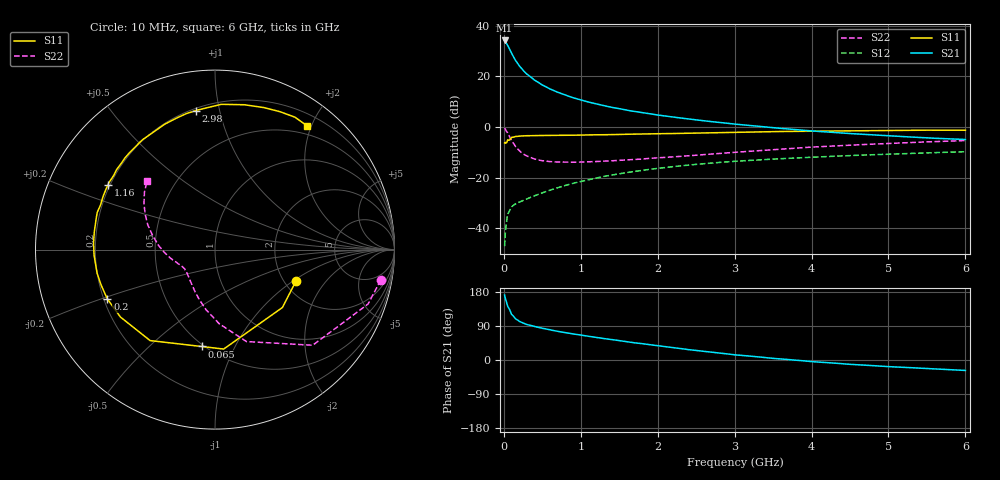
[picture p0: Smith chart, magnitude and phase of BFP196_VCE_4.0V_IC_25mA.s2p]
! Infineon Technologies  Discrete & RF Semiconductors
! BFP196
! VCE = 4.0 V,  IC =  25mA
! Common Emitter S-Parameters:  Jan 2016
# GHz  S  MA  R  50
!  f  S11  S21  S12  S22
! GHz  MAG  ANG  MAG  ANG  MAG  ANG  MAG  ANG
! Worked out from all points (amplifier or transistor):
!   210 points, 10 MHz to 6 GHz, reference 50 ohm
!   highest |S21| = 34.2 dB at 10 MHz (marker M1)
!   |S21| within 3 dB of that: start of sweep to 67.39 MHz
!   unconditionally stable (mu >= 1): 620.1 MHz to 3.466 GHz; 3.56 GHz to 3.986 GHz; 4.031 GHz to 4.257 GHz
!   at 185 MHz: K = 0.53, MSG = 27.4 dB, |S12| = -30.0 dB
!   at 1.52 GHz: K = 1.09, MAG = 10.9 dB, |S12| = -18.4 dB
!   at 6 GHz: K = 0.97, MSG = 2.4 dB, |S12| = -9.8 dB
!   S11 on the Smith chart (normalised r, x): 10 MHz: 2.31, -1.06; 65 MHz: 0.49, -0.75; 200 MHz: 0.21, -0.21; 1.16 GHz: 0.19, +0.27; 2.98 GHz: 0.21, +0.85; 6 GHz: 0.37, +1.94
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0.01  0.4843 -21.2  51.07 171.5  0.0044 84.1  0.9392 -10.4
0.02  0.4951 -40.7  48.86 162.1  0.0084 75.2  0.9049 -19.6
0.05  0.5562 -85.0  41 141.5  0.0187 59.3  0.7617 -44.4
0.065  0.545 -97.9  36.8 136.7  0.0209 54.4  0.6823 -50.5
0.1  0.6226 -125.5  28.46 120.5  0.0263 46.3  0.5416 -71.1
0.15  0.6471 -144.5  20.71 109.1  0.03 43.6  0.4133 -86.8
0.2  0.6598 -155.4  16.19 102.2  0.0326 42.9  0.3401 -98.2
0.26  0.6657 -164.4  12.66 96.7  0.0357 44.2  0.2873 -108.4
0.3  0.67 -168.8  11.02 93.6  0.038 45.9  0.2661 -113.7
0.4  0.6745 -177.4  8.388 88.2  0.0436 48.8  0.2319 -124.3
0.5  0.6777 176.8  6.722 83.7  0.0497 51.7  0.2147 -132.0
0.6  0.6798 171.7  5.622 79.5  0.0562 53.1  0.2063 -137.3
0.7  0.683 166.7  4.837 75.5  0.0628 54.5  0.2024 -141.5
1.02  0.6912 153.8  3.341 65.2  0.085 55.2  0.2024 -150.5
1.16  0.6968 149.0  2.949 60.9  0.0946 54.9  0.206 -153.3
1.6  0.7155 134.7  2.137 48.2  0.1253 51.2  0.2235 -160.5
2.02  0.7337 122.6  1.702 37.2  0.1527 46.6  0.2456 -167.4
2.98  0.782 97.9  1.147 14.2  0.2082 34.4  0.313 176.3
3.1  0.7866 95.4  1.101 12.1  0.2136 32.7  0.3221 174.1
4.1  0.825 77.0  0.813 -5.5  0.2557 20.7  0.4063 158.3
5.1  0.8511 63.6  0.655 -18.4  0.2929 9.7  0.4777 145.8
6  0.8597 53.2  0.564 -27.6  0.3234 -0.3  0.5366 135.0
